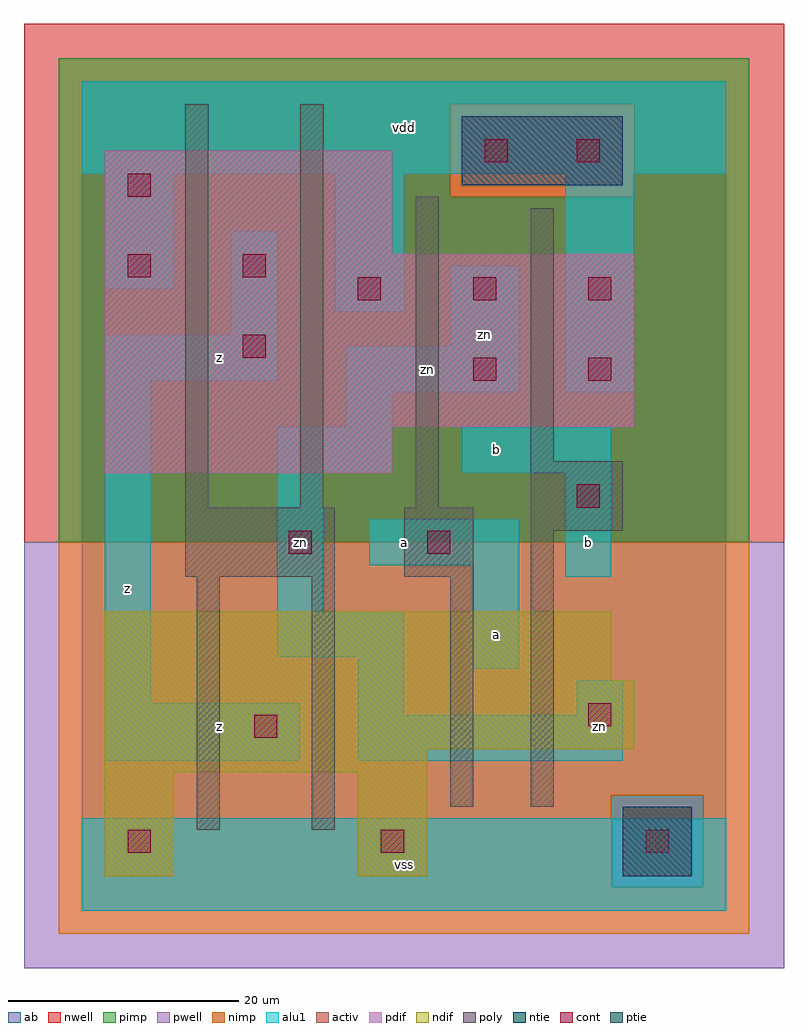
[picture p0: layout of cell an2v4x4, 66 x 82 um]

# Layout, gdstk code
import gdstk
lib = gdstk.Library(unit=1e-6, precision=1e-09)
def R(c, l, rs):  # rectangles x0, y0, x1, y1
    for r in rs: c.add(gdstk.rectangle(r[:2], r[2:], *l))
def A(c, l, x, y, w, h, nx, ny, dx, dy):  # array of equal rectangles
    R(c, l, [(x+i*dx, y+j*dy, x+i*dx+w, y+j*dy+h) for i in range(nx) for j in range(ny)])
ndif = (3, 0)
pdif = (4, 0)
ntie = (5, 0)
ptie = (6, 0)
cont = (25, 0)
pwell = (41, 0)
nwell = (42, 0)
activ = (43, 0)
pimp = (44, 0)
nimp = (45, 0)
poly = (46, 0)
alu1 = (49, 0)
ab = (63, 0)

an2v4x4 = lib.new_cell('an2v4x4')
R(an2v4x4, ndif, [(2,3,8,12), (24,3,30,12), (2,12,30,14), (2,14,48,20), (2,20,46,26)])
R(an2v4x4, pdif, [(2,38,27,42), (2,42,48,57), (2,57,27,66)])
R(an2v4x4, ntie, [(33,63,47,69)])
R(an2v4x4, ptie, [(47,3,53,9)])
A(an2v4x4, cont, 24, 53, 2, 2, 3, 1, 10, 0)
R(an2v4x4, cont, [(4,5,6,7), (26,5,28,7), (49,5,51,7), (15,15,17,17), (44,16,46,18), (18,31,20,33), (30,31,32,33), (43,35,45,37), (34,46,36,48), (44,46,46,48), (14,48,16,50), (4,55,6,57), (14,55,16,57), (4,62,6,64), (35,65,37,67), (43,65,45,67)])
R(an2v4x4, pwell, [(-5,-5,61,32)])
R(an2v4x4, nwell, [(-5,32,61,77)])
R(an2v4x4, activ, [(2,3,8,12), (24,3,30,12), (47,3,53,9), (2,12,30,14), (2,14,48,20), (2,20,46,26), (2,38,27,42), (2,42,48,57), (2,57,27,66), (33,63,47,69)])
R(an2v4x4, pimp, [(46,2,54,10), (-2,32,58,62), (-2,62,32,70), (48,62,58,70), (-2,70,58,74)])
R(an2v4x4, nimp, [(-2,-2,58,2), (-2,2,46,10), (54,2,58,10), (-2,10,58,32), (32,62,48,70)])
R(an2v4x4, poly, [(10,7,12,29), (20,7,22,29), (32,9,34,29), (39,9,41,33), (9,29,22,35), (28,29,34,35), (39,33,47,39), (9,35,11,70), (19,35,21,70), (29,35,31,62), (39,39,41,61)])
R(an2v4x4, alu1, [(0,0,56,8), (2,13,19,18), (24,13,47,17), (24,17,28,22), (43,17,47,20), (2,18,6,46), (34,21,38,30), (17,22,28,26), (17,26,21,38), (42,29,46,38), (25,30,38,34), (17,38,27,42), (33,38,46,42), (23,42,27,45), (23,45,38,49), (42,45,48,64), (2,46,17,50), (32,49,38,56), (13,50,17,59), (22,52,28,64), (2,54,8,64), (0,64,56,72)])
R(an2v4x4, ab, [(0,0,56,72)])
an2v4x4.add(gdstk.Label('zn', (19,32), layer=49, texttype=0))
an2v4x4.add(gdstk.Label('zn', (30,47), layer=49, texttype=0))
an2v4x4.add(gdstk.Label('zn', (35,50), layer=49, texttype=0))
an2v4x4.add(gdstk.Label('zn', (45,16), layer=49, texttype=0))
an2v4x4.add(gdstk.Label('z', (4,28), layer=49, texttype=0))
an2v4x4.add(gdstk.Label('z', (12,16), layer=49, texttype=0))
an2v4x4.add(gdstk.Label('z', (12,48), layer=49, texttype=0))
an2v4x4.add(gdstk.Label('vss', (28,4), layer=49, texttype=0))
an2v4x4.add(gdstk.Label('a', (28,32), layer=49, texttype=0))
an2v4x4.add(gdstk.Label('a', (36,24), layer=49, texttype=0))
an2v4x4.add(gdstk.Label('b', (36,40), layer=49, texttype=0))
an2v4x4.add(gdstk.Label('vdd', (28,68), layer=49, texttype=0))
an2v4x4.add(gdstk.Label('b', (44,32), layer=49, texttype=0))

lib.write_gds('an2v4x4.gds')
